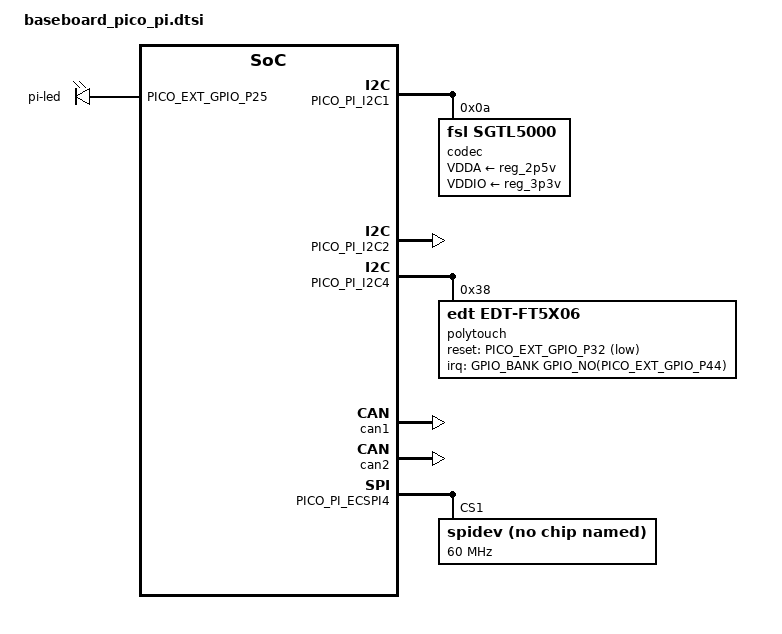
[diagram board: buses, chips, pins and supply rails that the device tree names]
/*
 * Copyright 2016 Technexion Ltd.
 *
 * Author: Wig Cheng <wig.cheng@technexion.com>
 *	   Richard Hu <richard.hu@technexion.com>
 *	   Tapani Utriainen <tapani@technexion.com>
 *
 * This program is free software; you can redistribute it and/or modify
 * it under the terms of the GNU General Public License version 2 as
 * published by the Free Software Foundation.
 *
 */

#include <tnmacro.h>

/ {
	gpio-edm {
		compatible = "gpio-edm";
/* custom GPIO may be from GPIO expander on CPU module */
#ifdef PICO_EXT_GPIO_IOMUX_PI
		pinctrl-names = "default";
		pinctrl-0 = <PICO_EXT_GPIO_IOMUX_PI>;
#else
		pinctrl-names = "default";
		pinctrl-0 = <&pinctrl_gpio>;
#endif
		gpio_p24 {
			label = "GPIO_P24";
			gpios = <&PICO_EXT_GPIO_P24 1>;
			dir   = "out";
		};

		/* Mikrobus */
		gpio_p26 {
			label = "GPIO_P26";
			gpios = <&PICO_EXT_GPIO_P26 1>;
			dir   = "out";
		};
		gpio_p28 {
			label = "GPIO_P28";
			gpios = <&PICO_EXT_GPIO_P28 GPIO_ACTIVE_HIGH>;
			dir   = "out";
		};
		gpio_p30 {
			label = "GPIO_P30";
			gpios = <&PICO_EXT_GPIO_P30 GPIO_ACTIVE_HIGH>;
			dir   = "in";
		};
		gpio_p34 {
			label = "GPIO_P34";
			gpios = <&PICO_EXT_GPIO_P34 GPIO_ACTIVE_HIGH>;
			dir   = "in";
		};
#ifdef PICO_EXT_GPIO_P42
		gpio_p42 {
			label = "GPIO_P42";
			gpios = <&PICO_EXT_GPIO_P42 GPIO_ACTIVE_HIGH>;
			dir   = "out";
		};
#endif
		gpio_p48 {
			label = "GPIO_P48";
			gpios = <&PICO_EXT_GPIO_P48 GPIO_ACTIVE_HIGH>;
			dir   = "out";
		};
	};

	sound {
		compatible = "fsl,imx-sgtl5000",
			     "fsl,imx-audio-sgtl5000";
		model = "audio-sgtl5000";
		ssi-controller = <&PICO_AUD_I2S_CHANNEL>;
		audio-codec = <&codec>;
		audio-routing =
			"MIC_IN", "Mic Jack",
			"Mic Jack", "Mic Bias",
			"Headphone Jack", "HP_OUT";
#if defined(PICO_AUD_MUX_INT) && defined(PICO_AUD_MUX_EXT)
		mux-int-port = <PICO_AUD_MUX_INT>;
		mux-ext-port = <PICO_AUD_MUX_EXT>;
#else
		fsl,no-audmux = "true";
#endif
	};

	gpio-leds {
		compatible = "gpio-leds";
#ifdef PICO_EXT_GPIOLED_IOMUX_PI
			pinctrl-names = "default";
			pinctrl-0 = <PICO_EXT_GPIOLED_IOMUX_PI>;
#endif
		pi-led {
			label = "pi-led";
			gpios = <&PICO_EXT_GPIO_P25 GPIO_ACTIVE_HIGH>; /* GPIO_P25 */
		};
	};
};

&PICO_PI_I2C1 {
	status = "okay";

	codec: sgtl5000@0a {
		compatible = "fsl,sgtl5000";
		reg = <0x0a>;
		clocks = <&PICO_AUD_CLK_SRC>;
		VDDA-supply = <&reg_2p5v>;
		VDDIO-supply = <&reg_3p3v>;
	};
};

&PICO_PI_I2C2 {
	status = "okay";

};

&PICO_PI_I2C4 {
	polytouch: edt-ft5x06@38 {
		compatible = "edt,edt-ft5x06";
		reg = <0x38>;
#ifdef PICO_EXT_FT5X06_IOMUX_PI
		pinctrl-names = "default";
		pinctrl-0 = <PICO_EXT_FT5X06_IOMUX_PI>; /* Touch IRQ and Touch Reset */
#endif
		interrupt-parent = <&GPIO_BANK(PICO_EXT_GPIO_P44)>; /* GPIO_P44 */
		interrupts = <GPIO_NO(PICO_EXT_GPIO_P44) 0>;
		reset-gpios = <&PICO_EXT_GPIO_P32 GPIO_ACTIVE_LOW>; /* GPIO_P32 */
		touchscreen-size-x = <800>;
		touchscreen-size-y = <480>;
	};
};

&can1 {
	status = "okay";
};

&can2 {
	status = "okay";
};

&PICO_PI_ECSPI4 {
	status = "okay";

	spidev@1 {
		compatible = "rohm,dh2228fv";
		spi-max-frequency = <60000000>;
		reg = <1>;
	};
};

